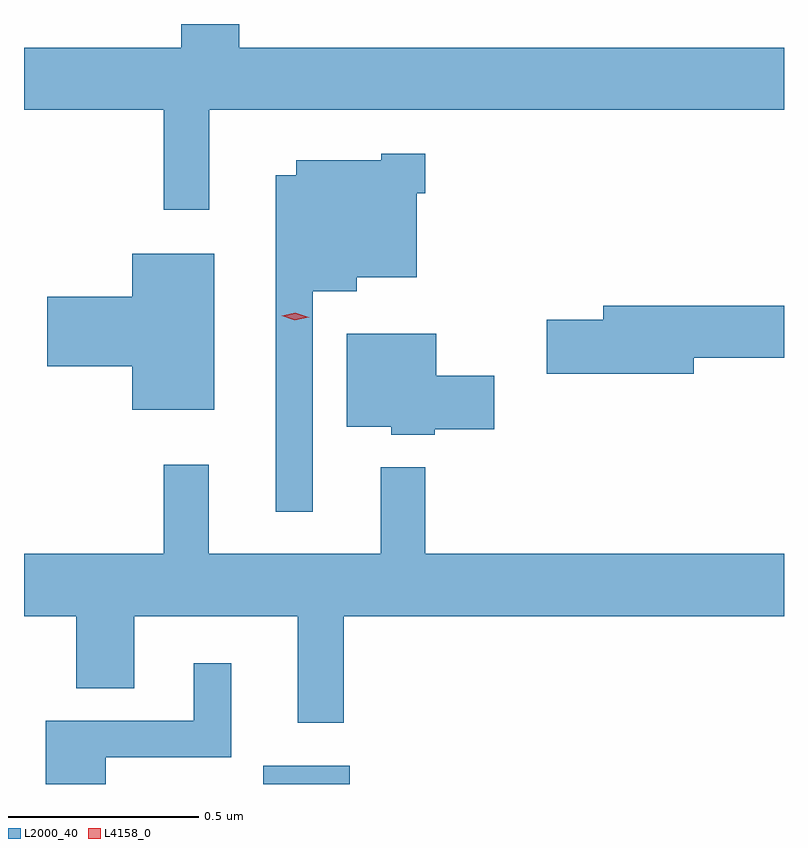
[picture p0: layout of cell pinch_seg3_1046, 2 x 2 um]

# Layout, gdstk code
import gdstk
lib = gdstk.Library(unit=1e-6, precision=1e-09)
def R(c, l, rs):  # rectangles x0, y0, x1, y1
    for r in rs: c.add(gdstk.rectangle(r[:2], r[2:], *l))
def P(c, l, *ps):  # polygons
    for p in ps: c.add(gdstk.Polygon(p, *l))
L2000_40 = (2000, 40)
L4158_0 = (4158, 0)

pinch_seg3_1046 = lib.new_cell('pinch_seg3_1046')
R(pinch_seg3_1046, L2000_40, [(573.959,685.822,574.186,685.87)])
P(pinch_seg3_1046, L2000_40, [(573.816,687.596),(575.329,687.596),(575.329,687.76),(573.895,687.76),(573.895,687.822),(573.743,687.822),(573.743,687.76),(573.329,687.76),(573.329,687.596),(573.697,687.596),(573.697,687.333),(573.816,687.333)],
  [(574.089,687.119),(574.204,687.119),(574.204,687.155),(574.363,687.155),(574.363,687.377),(574.385,687.377),(574.385,687.481),(574.269,687.481),(574.269,687.463),(574.046,687.463),(574.046,687.424),(573.992,687.424),(573.992,686.538),(574.089,686.538)],
  [(573.829,687.217),(573.614,687.217),(573.614,687.104),(573.39,687.104),(573.39,686.921),(573.614,686.921),(573.614,686.807),(573.829,686.807)],
  [(575.092,686.944),(575.329,686.944),(575.329,687.08),(574.853,687.08),(574.853,687.044),(574.704,687.044),(574.704,686.902),(575.092,686.902)],
  [(574.41,686.755),(574.567,686.755),(574.567,686.897),(574.414,686.897),(574.414,687.007),(574.178,687.007),(574.178,686.762),(574.296,686.762),(574.296,686.741),(574.41,686.741)],
  [(574.171,686.264),(575.329,686.264),(575.329,686.428),(574.385,686.428),(574.385,686.656),(574.268,686.656),(574.268,686.428),(573.815,686.428),(573.815,686.662),(573.697,686.662),(573.697,686.428),(573.329,686.428),(573.329,686.264),(573.467,686.264),(573.467,686.074),(573.619,686.074),(573.619,686.264),(574.049,686.264),(574.049,685.983),(574.171,685.983)],
  [(573.544,685.893),(573.874,685.893),(573.874,686.14),(573.776,686.14),(573.776,685.989),(573.386,685.989),(573.386,685.822),(573.544,685.822)])
P(pinch_seg3_1046, L4158_0, [(574.042,687.042),(574.007,687.054),(574.007,687.054),(574.007,687.054),(574.043,687.062),(574.078,687.05),(574.079,687.05),(574.078,687.05)])

lib.write_gds('pinch_seg3_1046.gds')
